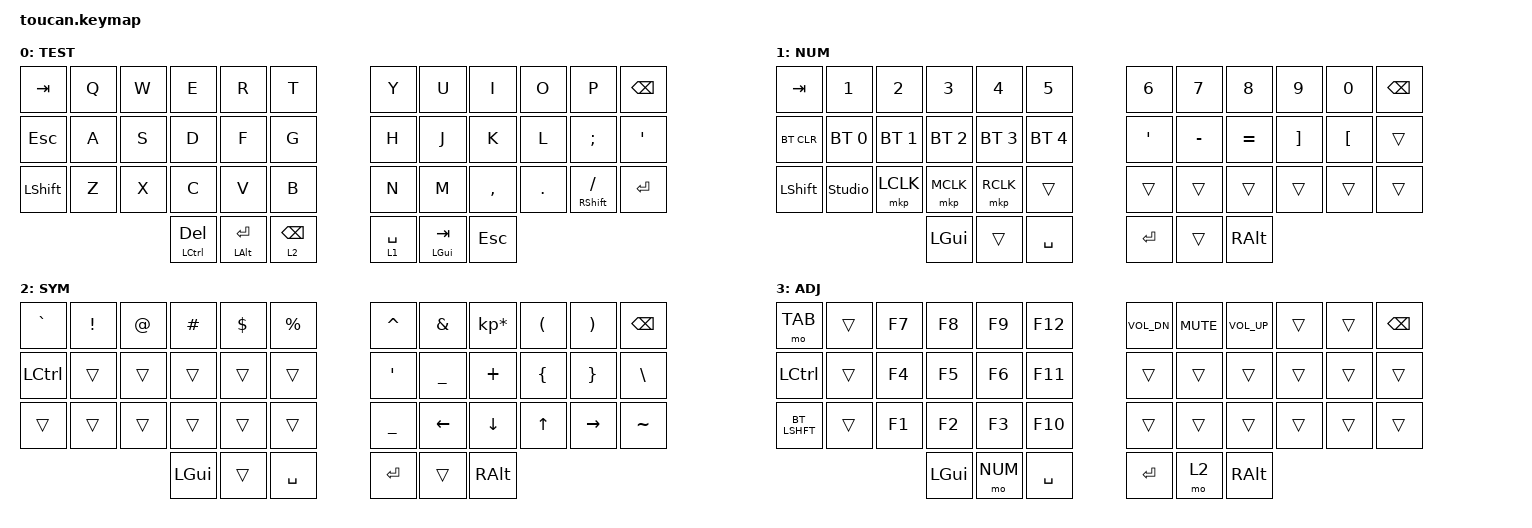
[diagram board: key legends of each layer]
#include <behaviors.dtsi>
#include <dt-bindings/zmk/keys.h>
#include <dt-bindings/zmk/bt.h>
#include <dt-bindings/zmk/outputs.h>
#include <dt-bindings/zmk/pointing.h>

#define BASE 0
#define NUM  1
#define SYM  2
#define ADJ  3

/ {
    conditional_layers {
        compatible = "zmk,conditional-layers";
        tri_layer {
            if-layers = <1 2>;
            then-layer = <3>;
        };
    };

    keymap {
        compatible = "zmk,keymap";

        base {
            display-name = "TEST";
            bindings = <
                &kp TAB   &kp Q &kp W &kp E         &kp R        &kp T            &kp Y       &kp U        &kp I     &kp O   &kp P          &kp BSPC
                &kp ESC   &kp A &kp S &kp D         &kp F        &kp G            &kp H       &kp J        &kp K     &kp L   &kp SEMI       &kp SQT
                &kp LSHFT &kp Z &kp X &kp C         &kp V        &kp B            &kp N       &kp M        &kp COMMA &kp DOT &mt RSHFT FSLH &kp RET
                                      &mt LCTRL DEL &mt LALT RET &lt 2 BSPC       &lt 1 SPACE &mt LGUI TAB &kp ESC
            >;
        };

        NUM {
            display-name = "NUM";
            bindings = <
                &kp TAB     &kp N1          &kp N2       &kp N3       &kp N4         &kp N5       &kp N6   &kp N7    &kp N8    &kp N9    &kp N0   &kp BSPC
                &bt BT_CLR  &bt BT_SEL 0    &bt BT_SEL 1 &bt BT_SEL 2 &bt BT_SEL 3   &bt BT_SEL 4 &kp SQT  &kp MINUS &kp EQUAL &kp RBKT  &kp LBKT &trans
                &kp LSHFT   &studio_unlock  &mkp LCLK    &mkp MCLK    &mkp RCLK      &trans       &trans   &trans    &trans    &trans    &trans   &trans
                                                         &kp LGUI     &trans         &kp SPACE    &kp RET  &trans    &kp RALT
            >;
        };

        sym {
            display-name = "SYM";
            bindings = <
                &kp GRAVE &kp EXCL &kp AT &kp HASH &kp DLLR &kp PRCNT   &kp CARET &kp AMPS  &kp KP_MULTIPLY &kp LPAR &kp RPAR  &kp BSPC
                &kp LCTRL &trans   &trans &trans   &trans   &trans      &kp SQT   &kp UNDER &kp PLUS        &kp LBRC &kp RBRC  &kp BSLH
                &trans    &trans   &trans &trans   &trans   &trans      &kp UNDER &kp LEFT  &kp DOWN        &kp UP   &kp RIGHT &kp TILDE
                                          &kp LGUI &trans   &kp SPACE   &kp RET   &trans    &kp RALT
            >;
        };

        adj {
            display-name = "ADJ";
            bindings = <
                &mo TAB   &trans &kp F7 &kp F8 &kp F9 &kp F12   &kp C_VOL_DN &kp C_MUTE  &kp C_VOL_UP &trans &trans &kp BSPC
                &kp LCTRL &trans &kp F4 &kp F5 &kp F6 &kp F11   &trans       &trans      &trans       &trans &trans &trans
                &bt LSHFT &trans &kp F1 &kp F2 &kp F3 &kp F10   &trans       &trans      &trans       &trans &trans &trans
                                   &kp LGUI &mo NUM &kp SPACE   &kp RET &mo 2 &kp RALT
            >;
        };
        extra_1 {
                status = "reserved";
        };

        extra_2 {
                status = "reserved";
        };

        extra_3 {
                status = "reserved";
        };
    };
};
